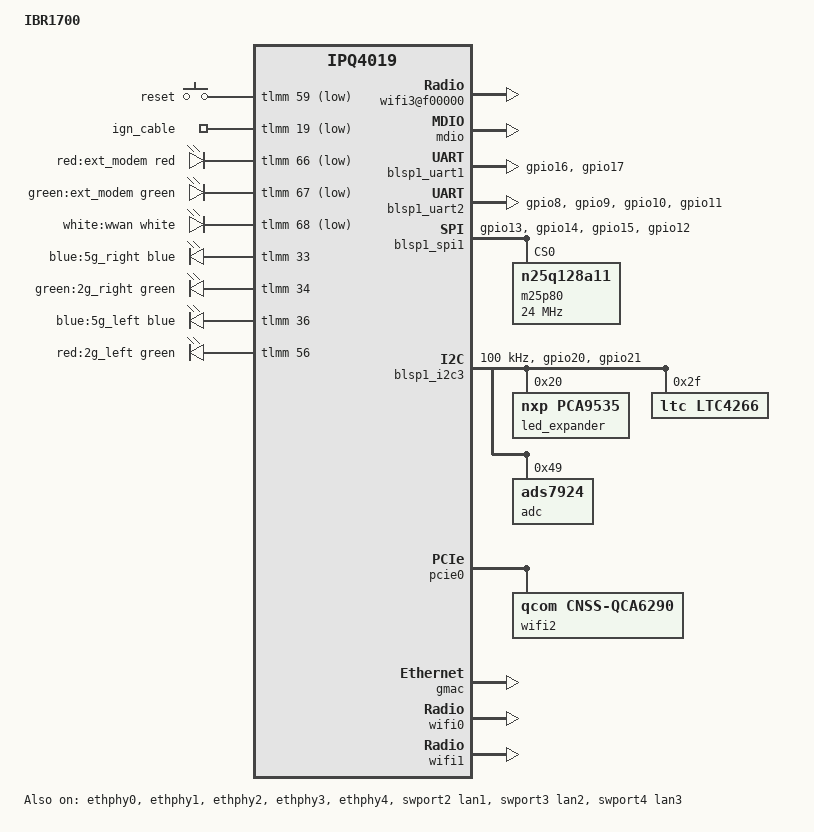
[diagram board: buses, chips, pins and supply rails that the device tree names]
// SPDX-License-Identifier: GPL-2.0-or-later
/* Copyright (c) 2025, Natalie Moore <natalie@natalielucy.dev> */

#include "qcom-ipq4019.dtsi"
#include <dt-bindings/gpio/gpio.h>
#include <dt-bindings/input/input.h>
#include <dt-bindings/leds/common.h>
#include <dt-bindings/soc/qcom,tcsr.h>

/ {
    model = "IBR1700";
    aliases {
        ethernet0 = &gmac;
    };

    soc {
		ess-tcsr@1953000 {
			compatible = "qcom,tcsr";
			reg = <0x1953000 0x1000>;
			qcom,ess-interface-select = <TCSR_ESS_PSGMII>;
		};


		tcsr@1949000 {
			compatible = "qcom,tcsr";
			reg = <0x1949000 0x100>;
			qcom,wifi_glb_cfg = <TCSR_WIFI_GLB_CFG>;
		};

		tcsr@194b000 {
			compatible = "qcom,tcsr";
			reg = <0x194b000 0x100>;
			qcom,usb-hsphy-mode-select = <TCSR_USB_HSPHY_HOST_MODE>;
		};

		tcsr@1957000 {
			compatible = "qcom,tcsr";
			reg = <0x1957000 0x100>;
			qcom,wifi_noc_memtype_m0_m2 = <TCSR_WIFI_NOC_MEMTYPE_M0_M2>;
		};

        wifi3@f00000 {
			compatible = "qcom,cnss-qca6290";
			qcom,mhi = <0x1b>;
			qcom,wlan-ramdump-dynamic = <0x400000>;
			status = "ok";
		};
	};

    keys {
		compatible = "gpio-keys";

        reset {
			label = "reset";
			gpios = <&tlmm 59 GPIO_ACTIVE_LOW>;
			//linux,code = <KEY_RESTART>;
		};

        ignition_cable {
            label = "ign_cable";
            gpios = <&tlmm 19 GPIO_ACTIVE_LOW>;
        };
	};

    leds {
        compatible = "gpio-leds";

        led_ext_modem_red: led-0 {
            function = LED_FUNCTION_STATUS;
            color = <LED_COLOR_ID_RED>;
            gpios = <&tlmm 66 GPIO_ACTIVE_LOW>;
            label = "red:ext_modem";
        };

        led_ext_modem_green: led-1 {
            function = LED_FUNCTION_STATUS;
            color = <LED_COLOR_ID_GREEN>;
            gpios = <&tlmm 67 GPIO_ACTIVE_LOW>;
            label = "green:ext_modem";
        };

        led_wwan_white: led-2 {
            function = LED_FUNCTION_STATUS;
            color = <LED_COLOR_ID_WHITE>;
            gpios = <&tlmm 68 GPIO_ACTIVE_LOW>;
            label = "white:wwan";
        };

        led_5g_right_blue: led-3 {
            function = LED_FUNCTION_STATUS;
            color = <LED_COLOR_ID_BLUE>;
            gpios = <&tlmm 33 GPIO_ACTIVE_HIGH>;
            label = "blue:5g_right";
        };

        led_2g_right_green: led-4 {
            function = LED_FUNCTION_STATUS;
            color = <LED_COLOR_ID_GREEN>;
            gpios = <&tlmm 34 GPIO_ACTIVE_HIGH>;
            label = "green:2g_right";
        };

        led_5g_left_blue: led-5 {
            function = LED_FUNCTION_STATUS;
            color = <LED_COLOR_ID_BLUE>;
            gpios = <&tlmm 36 GPIO_ACTIVE_HIGH>;
            label = "blue:5g_left";
        };

        led_2g_left_green: led-6 {
            function = LED_FUNCTION_STATUS;
            color = <LED_COLOR_ID_GREEN>;
            gpios = <&tlmm 56 GPIO_ACTIVE_HIGH>;
            label = "red:2g_left";
        };
    };
};

&tlmm {
	mdio_pins: mdio-pinmux {
		mux-1 {
			pins = "gpio6";
			function = "mdio";
			bias-pull-up;
		};

		mux-2 {
			pins = "gpio7";
			function = "mdc";
			bias-pull-up;
		};
	};

	serial_0_pins: serial0-pinmux {
		pins = "gpio16", "gpio17";
		function = "blsp_uart0";
		bias-disable;
	};

	serial_1_pins: serial1-pinmux {
		pins = "gpio8", "gpio9", "gpio10", "gpio11";
		function = "blsp_uart1";
		bias-disable;
	};

	spi_0_pins: spi-0-pinmux {
        pinmux {
            function = "blsp_spi0";
            pins = "gpio13", "gpio14", "gpio15";
            bias-disable;
        };

        pinmux_cs {
            function = "gpio";
            pins = "gpio12";
            bias-disable;
            output-high;
        };
	};

    i2c_0_pins: i2c_0_pinmux {
		mux {
			function = "blsp_i2c0";
			pins = "gpio20", "gpio21";
			bias-disable;
		};
	};

};

&mdio {
	status = "okay";
	pinctrl-0 = <0x18>;
    pinctrl-names = "default";
    phy-reset-gpio;
    bias-disable;
};

&blsp1_uart1 {
	status = "okay";
	pinctrl-0 = <&serial_0_pins>;
	pinctrl-names = "default";
};

&blsp1_uart2 {
	status = "okay";
	pinctrl-0 = <&serial_1_pins>;
	pinctrl-names = "default";
};

&blsp1_spi1 {
    status = "okay";
    pinctrl-0 = <&spi_0_pins>;
	pinctrl-names = "default";
    m25p80@0 {
        #address-cells = <0x01>;
        #size-cells = <0x01>;
        reg = <0x00>;
        compatible = "n25q128a11";
        linux,modalias = "m25p80", "n25q128a11";
        spi-max-frequency = <0x16e3600>;
        use-default-sizes;
    };
};

&blsp1_i2c3 {
	status = "okay";
    interrupts = <0x00 0x61 0x04>;
    clock-frequency = <100000>;
    qup-clock-frequency = <0x122ae10>;
	pinctrl-0 = <&i2c_0_pins>;
	pinctrl-names = "default";

    led_expander: gpio@20 {
        compatible = "nxp,pca9535";
        reg = <0x20>;
        gpio-controller;
        status = "okay";
    };

    /*
    gpio@35 {
        compatible = "ti,tca6424";
        reg = <0x23>;
        gpio-controller;
        interrupts = <0x12>;
        status = "okay";
    };

    temperature-sensor@77 {
        compatible = "gmt,g781";
        reg = <0x4d>;
        vcc-supply = <0x0f>;
        status = "okay";
    };

    /* don't think this is necessary? at least on the 1700*/
    ltc4266@2f {
        compatible = "ltc,ltc4266";
        reg = <0x2f>;
        interrupt-controller;
        interrupts = <0x12>;
        interrupt-parent = <0x0d>;
        status = "okay";
    };

    adc@49 {
        compatible = "ads7924";
        reg = <0x49>;
        status = "okay";
    };
    */
};

&pcie0 {
	status = "okay";

	bridge@0,0 {
		reg = <0x00000000 0 0 0 0>;
		#address-cells = <3>;
		#size-cells = <2>;
		ranges;

		wifi2: wifi@1,0 {
			compatible = "qcom,cnss-qca6290";
			qcom,mhi = <0x1b>;
			qcom,wlan-ramdump-dynamic = <0x400000>;
		};
	};
};

&gmac {
	status = "okay";
};

&ethphy0 {
	status = "okay";
    reg = <0x08>;
    qca,ar8327-initvals = <0x04 0x80 0x08 0x1000000 0x0c 0x5600000 0x10 0x2613a0 0xe4 0xaa545 0xe0 0xc74164de 0x7c 0x7e 0x94 0x7e>;
    psgmii = <0x0d>;
};

&ethphy1 {
	status = "okay";
    reg = <0x09>;
};

&ethphy2 {
	status = "okay";
    reg = <0x0a>;
};

&ethphy3 {
	status = "okay";
    reg = <0x0b>;
};

&ethphy4 {
	status = "okay";
    reg = <0x0c>;
};

&swport2 {
	status = "okay";

	label = "lan1";
};

&swport3 {
	status = "okay";

	label = "lan2";
};

&swport4 {
	status = "okay";

	label = "lan3";
};

&wifi0 {
	status = "okay";
    qcom,ath10k-calibration-variant = "ibr1700";
};

&wifi1 {
	status = "okay";
    qcom,ath10k-calibration-variant = "ibr1700";
};

&wifi2 {
	status = "okay";
    qcom,ath10k-calibration-variant = "ibr1700";
};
